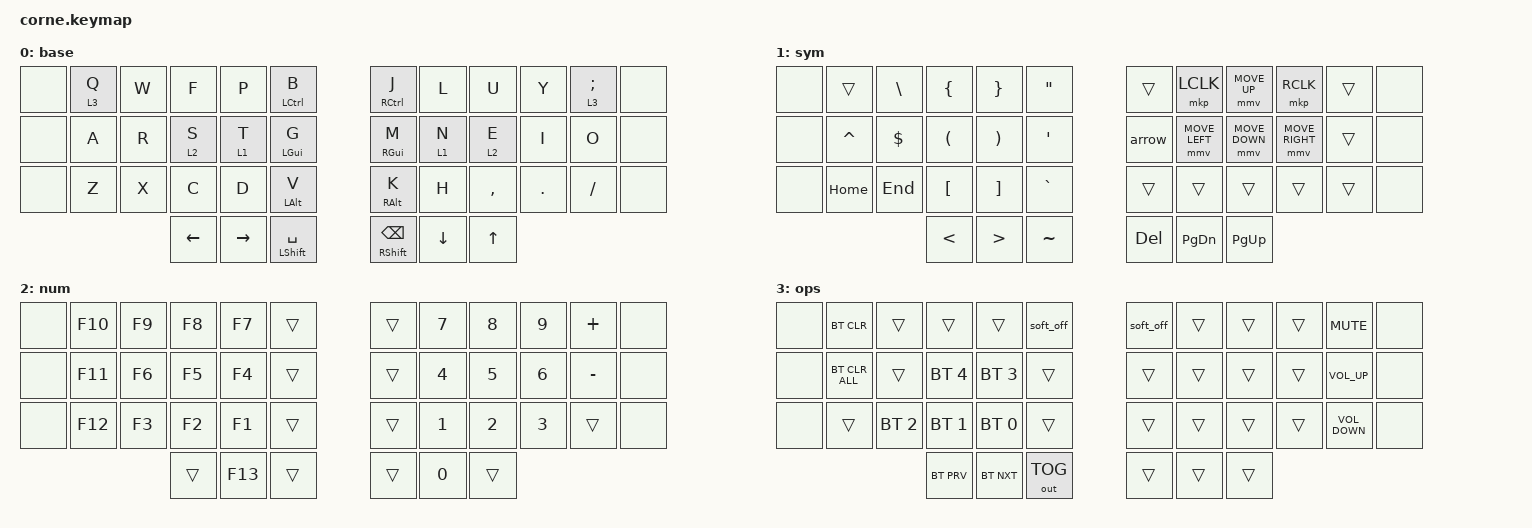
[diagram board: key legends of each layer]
/*
 * Copyright (c) 2020 The ZMK Contributors
 *
 * SPDX-License-Identifier: MIT
 */

#include <behaviors.dtsi>
#include <dt-bindings/zmk/bt.h>
#include <dt-bindings/zmk/keys.h>
#include <dt-bindings/zmk/outputs.h>
#include <dt-bindings/zmk/pointing.h>

&mt { 
  flavor = "tap-preferred"; 
};

/ {
    combos {
        compatible = "zmk,combos";

        tab {
            bindings = <&kp TAB>;
            key-positions = <3 4>;
        };

        esc {
            bindings = <&kp ESC>;
            key-positions = <15 16>;
        };

        tmux {
            bindings = <&kp RC(B)>;
            key-positions = <7 8>;
        };

        enter {
            bindings = <&kp ENTER>;
            key-positions = <19 20>;
        };

        eq {
            bindings = <&kp EQUAL>;
            key-positions = <27 28>;
        };

        mins {
            bindings = <&kp MINUS>;
            key-positions = <31 32>;
        };
    };

    macros {
        arrow: arrow {
            compatible = "zmk,behavior-macro";
            #binding-cells = <0>;
            bindings = <&kp EQUAL &kp LS(DOT)>;
            label = "ARROW";
        };
    };

    keymap {
        compatible = "zmk,keymap";

        base {
            label = "base";
            bindings = <
//    ┌───────┬─────────┬───────┬──────────┬───────────┬──────────────────────┐   ┌───────────────────────────┬──────────┬───────────┬─────────┬────────────┬───────┐
//    │ &none │ &lt 3 Q │ &kp W │  &kp F   │   &kp P   │     &mt LCTRL B      │   │        &mt RCTRL J        │  &kp L   │   &kp U   │  &kp Y  │ &lt 3 SEMI │ &none │
//    ├───────┼─────────┼───────┼──────────┼───────────┼──────────────────────┤   ├───────────────────────────┼──────────┼───────────┼─────────┼────────────┼───────┤
//    │ &none │  &kp A  │ &kp R │ &lt 2 S  │  &lt 1 T  │    &mt LEFT_GUI G    │   │      &mt RIGHT_GUI M      │ &lt 1 N  │  &lt 2 E  │  &kp I  │   &kp O    │ &none │
//    ├───────┼─────────┼───────┼──────────┼───────────┼──────────────────────┤   ├───────────────────────────┼──────────┼───────────┼─────────┼────────────┼───────┤
//    │ &none │  &kp Z  │ &kp X │  &kp C   │   &kp D   │    &mt LEFT_ALT V    │   │      &mt RIGHT_ALT K      │  &kp H   │ &kp COMMA │ &kp DOT │  &kp FSLH  │ &none │
//    └───────┴─────────┴───────┼──────────┼───────────┼──────────────────────┤   ├───────────────────────────┼──────────┼───────────┼─────────┴────────────┴───────┘
//                              │ &kp LEFT │ &kp RIGHT │ &mt LEFT_SHIFT SPACE │   │ &mt RIGHT_SHIFT BACKSPACE │ &kp DOWN │  &kp UP   │
//                              └──────────┴───────────┴──────────────────────┘   └───────────────────────────┴──────────┴───────────┘
  &none   &lt 3 Q   &kp W   &kp F      &kp P       &mt LCTRL B                &mt RCTRL J                 &kp L      &kp U       &kp Y     &lt 3 SEMI   &none
  &none   &kp A     &kp R   &lt 2 S    &lt 1 T     &mt LEFT_GUI G             &mt RIGHT_GUI M             &lt 1 N    &lt 2 E     &kp I     &kp O        &none
  &none   &kp Z     &kp X   &kp C      &kp D       &mt LEFT_ALT V             &mt RIGHT_ALT K             &kp H      &kp COMMA   &kp DOT   &kp FSLH     &none
                            &kp LEFT   &kp RIGHT   &mt LEFT_SHIFT SPACE       &mt RIGHT_SHIFT BACKSPACE   &kp DOWN   &kp UP
            >;
        };

        sym {
            label = "sym";
            bindings = <
//    ┌───────┬───────────┬───────────────┬──────────────────────┬───────────────────────┬───────────────────┐   ┌─────────┬────────────────┬────────────────┬─────────────────┬────────┬───────┐
//    │ &none │  &trans   │ &kp BACKSLASH │    &kp LEFT_BRACE    │    &kp RIGHT_BRACE    │ &kp DOUBLE_QUOTES │   │ &trans  │   &mkp LCLK    │  &mmv MOVE_UP  │    &mkp RCLK    │ &trans │ &none │
//    ├───────┼───────────┼───────────────┼──────────────────────┼───────────────────────┼───────────────────┤   ├─────────┼────────────────┼────────────────┼─────────────────┼────────┼───────┤
//    │ &none │ &kp CARET │  &kp DOLLAR   │ &kp LEFT_PARENTHESIS │ &kp RIGHT_PARENTHESIS │ &kp SINGLE_QUOTE  │   │ &arrow  │ &mmv MOVE_LEFT │ &mmv MOVE_DOWN │ &mmv MOVE_RIGHT │ &trans │ &none │
//    ├───────┼───────────┼───────────────┼──────────────────────┼───────────────────────┼───────────────────┤   ├─────────┼────────────────┼────────────────┼─────────────────┼────────┼───────┤
//    │ &none │ &kp HOME  │    &kp END    │   &kp LEFT_BRACKET   │   &kp RIGHT_BRACKET   │     &kp GRAVE     │   │ &trans  │     &trans     │     &trans     │     &trans      │ &trans │ &none │
//    └───────┴───────────┴───────────────┼──────────────────────┼───────────────────────┼───────────────────┤   ├─────────┼────────────────┼────────────────┼─────────────────┴────────┴───────┘
//                                        │    &kp LESS_THAN     │   &kp GREATER_THAN    │     &kp TILDE     │   │ &kp DEL │   &kp PG_DN    │   &kp PG_UP    │
//                                        └──────────────────────┴───────────────────────┴───────────────────┘   └─────────┴────────────────┴────────────────┘
  &none   &trans      &kp BACKSLASH   &kp LEFT_BRACE         &kp RIGHT_BRACE         &kp DOUBLE_QUOTES       &trans    &mkp LCLK        &mmv MOVE_UP     &mkp RCLK         &trans   &none
  &none   &kp CARET   &kp DOLLAR      &kp LEFT_PARENTHESIS   &kp RIGHT_PARENTHESIS   &kp SINGLE_QUOTE        &arrow    &mmv MOVE_LEFT   &mmv MOVE_DOWN   &mmv MOVE_RIGHT   &trans   &none
  &none   &kp HOME    &kp END         &kp LEFT_BRACKET       &kp RIGHT_BRACKET       &kp GRAVE               &trans    &trans           &trans           &trans            &trans   &none
                                      &kp LESS_THAN          &kp GREATER_THAN        &kp TILDE               &kp DEL   &kp PG_DN        &kp PG_UP
            >;
        };

        fn {
            label = "num";
            bindings = <
//    ┌───────┬─────────┬────────┬────────┬─────────┬────────┐   ┌────────┬────────┬────────┬────────┬───────────┬───────┐
//    │ &none │ &kp F10 │ &kp F9 │ &kp F8 │ &kp F7  │ &trans │   │ &trans │ &kp N7 │ &kp N8 │ &kp N9 │ &kp PLUS  │ &none │
//    ├───────┼─────────┼────────┼────────┼─────────┼────────┤   ├────────┼────────┼────────┼────────┼───────────┼───────┤
//    │ &none │ &kp F11 │ &kp F6 │ &kp F5 │ &kp F4  │ &trans │   │ &trans │ &kp N4 │ &kp N5 │ &kp N6 │ &kp MINUS │ &none │
//    ├───────┼─────────┼────────┼────────┼─────────┼────────┤   ├────────┼────────┼────────┼────────┼───────────┼───────┤
//    │ &none │ &kp F12 │ &kp F3 │ &kp F2 │ &kp F1  │ &trans │   │ &trans │ &kp N1 │ &kp N2 │ &kp N3 │  &trans   │ &none │
//    └───────┴─────────┴────────┼────────┼─────────┼────────┤   ├────────┼────────┼────────┼────────┴───────────┴───────┘
//                               │ &trans │ &kp F13 │ &trans │   │ &trans │ &kp N0 │ &trans │
//                               └────────┴─────────┴────────┘   └────────┴────────┴────────┘
  &none   &kp F10   &kp F9   &kp F8   &kp F7    &trans       &trans   &kp N7   &kp N8   &kp N9   &kp PLUS    &none
  &none   &kp F11   &kp F6   &kp F5   &kp F4    &trans       &trans   &kp N4   &kp N5   &kp N6   &kp MINUS   &none
  &none   &kp F12   &kp F3   &kp F2   &kp F1    &trans       &trans   &kp N1   &kp N2   &kp N3   &trans      &none
                             &trans   &kp F13   &trans       &trans   &kp N0   &trans
            >;
        };

        ops {
            label = "ops";
            bindings = <
//    ┌───────┬────────────────┬──────────────┬──────────────┬──────────────┬──────────────┐   ┌───────────┬────────┬────────┬────────┬───────────────────┬───────┐
//    │ &none │   &bt BT_CLR   │    &trans    │    &trans    │    &trans    │  &soft_off   │   │ &soft_off │ &trans │ &trans │ &trans │    &kp C_MUTE     │ &none │
//    ├───────┼────────────────┼──────────────┼──────────────┼──────────────┼──────────────┤   ├───────────┼────────┼────────┼────────┼───────────────────┼───────┤
//    │ &none │ &bt BT_CLR_ALL │    &trans    │ &bt BT_SEL 4 │ &bt BT_SEL 3 │    &trans    │   │  &trans   │ &trans │ &trans │ &trans │  &kp C_VOLUME_UP  │ &none │
//    ├───────┼────────────────┼──────────────┼──────────────┼──────────────┼──────────────┤   ├───────────┼────────┼────────┼────────┼───────────────────┼───────┤
//    │ &none │     &trans     │ &bt BT_SEL 2 │ &bt BT_SEL 1 │ &bt BT_SEL 0 │    &trans    │   │  &trans   │ &trans │ &trans │ &trans │ &kp C_VOLUME_DOWN │ &none │
//    └───────┴────────────────┴──────────────┼──────────────┼──────────────┼──────────────┤   ├───────────┼────────┼────────┼────────┴───────────────────┴───────┘
//                                            │  &bt BT_PRV  │  &bt BT_NXT  │ &out OUT_TOG │   │  &trans   │ &trans │ &trans │
//                                            └──────────────┴──────────────┴──────────────┘   └───────────┴────────┴────────┘
  &none   &bt BT_CLR       &trans         &trans         &trans         &soft_off          &soft_off   &trans   &trans   &trans   &kp C_MUTE          &none
  &none   &bt BT_CLR_ALL   &trans         &bt BT_SEL 4   &bt BT_SEL 3   &trans             &trans      &trans   &trans   &trans   &kp C_VOLUME_UP     &none
  &none   &trans           &bt BT_SEL 2   &bt BT_SEL 1   &bt BT_SEL 0   &trans             &trans      &trans   &trans   &trans   &kp C_VOLUME_DOWN   &none
                                          &bt BT_PRV     &bt BT_NXT     &out OUT_TOG       &trans      &trans   &trans
            >;
        };
    };
};

/*
qmk:json:start
{
  "variant": "zmk",
  "layout": [
     "x x x x x x _ x x x x x x",
     "x x x x x x _ x x x x x x",
     "x x x x x x _ x x x x x x",
     "_ _ _ x x x _ x x x _ _ _"
  ]
}
qmk:json:end
*/

